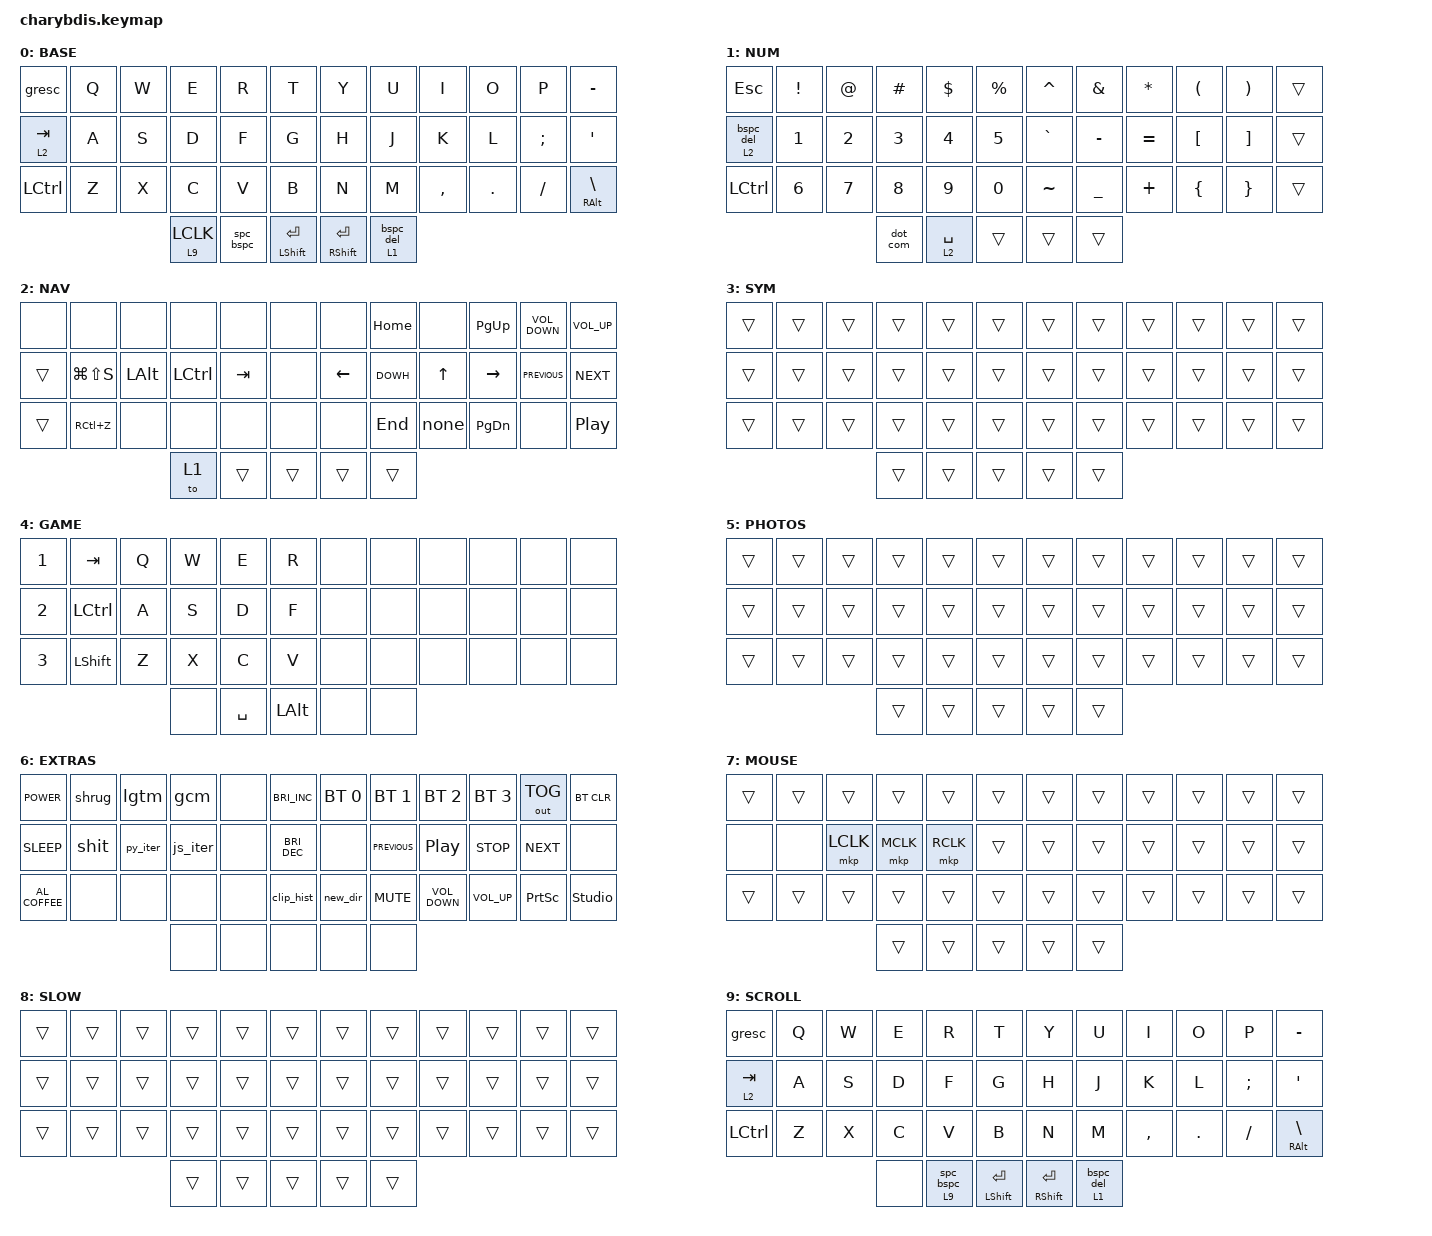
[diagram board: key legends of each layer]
#include <behaviors.dtsi>
#include <dt-bindings/zmk/bt.h>
#include <dt-bindings/zmk/keys.h>
#include <dt-bindings/zmk/mouse.h>
#include <dt-bindings/zmk/outputs.h>
#include <behaviors/mouse_keys.dtsi>
#include <dt-bindings/zmk/ext_power.h>
#include "macros.dtsi"

// / {
//     chosen { zmk,matrix_transform = &default_transform; };
// };

/ {
    /* input config for mouse move mode */
    trackball_listener {
        compatible = "zmk,input-behavior-listener";
        device = <&vtrackball>;
        layers = <0 1 2 7>;
        evt-type = <INPUT_EV_REL>;
        x-input-code = <INPUT_REL_X>;
        y-input-code = <INPUT_REL_Y>;
        scale-multiplier = <1>;
        scale-divisor = <3>; // slower from 2 to 3
        // bindings = <&ib_toggle_layer 7>; // unfortunately cant access scrolling if auto layer is on 
    };

    /* input config for snipe mode */
    trackball_snipe_listener {
        compatible = "zmk,input-behavior-listener";   
        device = <&vtrackball>;
        layers = <8>;
        evt-type = <INPUT_EV_REL>;
        x-input-code = <INPUT_REL_X>;
        y-input-code = <INPUT_REL_Y>;
        scale-multiplier = <1>;
        scale-divisor = <4>;
    };

    /* input config for mouse scroll mode */
    trackball_scroll_listener {
        compatible = "zmk,input-behavior-listener";
        device = <&vtrackball>;
        layers = <9>;
        evt-type = <INPUT_EV_REL>;            
        x-input-code = <INPUT_REL_MISC>;
        y-input-code = <INPUT_REL_WHEEL>;
        y-invert;
        bindings = <&ib_wheel_scaler 1 14>;
        scale-divisor = <4>;
    };

    /* define a resolution down scaler only for INPUT_REL_WHEEL */
    ib_wheel_scaler: ib_wheel_scaler {
        compatible = "zmk,input-behavior-scaler";
        #binding-cells = <2>;
        evt-type = <INPUT_EV_REL>;
        input-code = <INPUT_REL_WHEEL>;
    };

    /* adjust cooldown waiting period for mouse key layer after activated */
    ib_toggle_layer: ib_toggle_layer {
        compatible = "zmk,input-behavior-tog-layer";
        #binding-cells = <1>;
        time-to-live-ms = <750>;
    };

    behaviors {
        hm: homerow_mod {
            compatible = "zmk,behavior-hold-tap";
            #binding-cells = <2>;
            flavor = "tap-preferred";
            tapping-term-ms = <175>; // triggers the hold behavior when the tapping-term-ms has expired
            quick-tap-ms = <150>; // If you press a tapped hold-tap again within quick-tap-ms milliseconds of the first press, it will always trigger the tap behavior.
            require-prior-idle-ms = <185>; // like quick-tap-ms however it will apply for any non-modifier key pressed before it
            bindings = <&kp>, <&kp>;  // hold, tap
        };

        td_cursor: td_scroll_or_cursor {
            compatible = "zmk,behavior-tap-dance";
            #binding-cells = <0>;
            bindings = <&lt 9 ESC>, <&to 8>; // hold, tap, double_tap
        };

        httl: ht_two_layers {
            compatible = "zmk,behavior-hold-tap";
            bindings = <&mo>, <&to>;
            #binding-cells = <2>;
            flavor = "balanced";
            tapping-term-ms = <125>;
        };

        td_layers: td_layer_swap {
            compatible = "zmk,behavior-tap-dance";
            #binding-cells = <0>;
            bindings = <&to 0>, <&to 5>, <&to 4>; // tap, double_tap, tripple_tap
        };

        td_clk_scrl: td_click_or_scroll {
            compatible = "zmk,behavior-tap-dance";
            #binding-cells = <0>;
            tapping-term-ms = <250>;
            bindings = <&mkp RCLK>, <&mo 9>;  // tap/hold, double_tap
        };

        td_bore: BASE_or_EXTRA {
            compatible = "zmk,behavior-tap-dance";
            #binding-cells = <0>;
            bindings = <&mo 6>, <&to 0>;
        };

        bspc_del: backspace_delete {
            compatible = "zmk,behavior-mod-morph";
            label = "BACKSPACE_DELETE";
            #binding-cells = <0>;
            bindings = <&kp BACKSPACE>, <&kp DELETE>;
            mods = <(MOD_LSFT|MOD_RSFT)>;
        };

        lt_bspc: layer_tap_bspc_del {
            compatible = "zmk,behavior-hold-tap";
            label = "LAYER_TAP_BACKSPACE_DELETE";
            #binding-cells = <2>;
            bindings = <&mo>, <&bspc_del>;
            tapping-term-ms = <200>;
        };

        lt_clk: lt_mouse_click {
            compatible = "zmk,behavior-hold-tap";
            #binding-cells = <2>;
            flavor = "balanced";
            tapping-term-ms = <125>;
            bindings = <&mo>, <&mkp>;
        };

        spc_bspc: space_backspace {
            compatible = "zmk,behavior-mod-morph";
            label = "SPACE_BACKSPACE";
            #binding-cells = <0>;
            bindings = <&kp SPACE>, <&kp BACKSPACE>;
            mods = <(MOD_LCTL)>;
        };

        lt_space_bs: layer_tap_space_bspc {
            compatible = "zmk,behavior-hold-tap";
            label = "LAYER_TAP_SPACE_BACKSPACE";
            #binding-cells = <2>;
            bindings = <&mo>, <&spc_bspc>;
            tapping-term-ms = <200>;
        };

        dot_com: dot_comma {
            compatible = "zmk,behavior-mod-morph";
            #binding-cells = <0>;
            bindings = <&kp DOT>, <&kp COMMA>;
            mods = <(MOD_LCTL)>;
        };
    };

        hm_space: lt_space_with_hm {
            compatible = "zmk,behavior-hold-tap";
            #binding-cells = <2>;
            flavor = "tap-preferred";
            tapping-term-ms = <175>; // triggers the hold behavior when the tapping-term-ms has expired
            quick-tap-ms = <150>; // If you press a tapped hold-tap again within quick-tap-ms milliseconds of the first press, it will always trigger the tap behavior.
            require-prior-idle-ms = <185>; // like quick-tap-ms however it will apply for any non-modifier key pressed before it
            bindings = <&kp>, <&spc_bspc>;  // hold, tap
        };

    combos {
        compatible = "zmk,combos";

        ToBase {
            bindings = <&to 0>;
            key-positions = <38 39>;
        }; 

        CapsWord {
            bindings = <&caps_word>;
            key-positions = <17 18>;
            layers = <0>;
        };

        LeftClick {
            bindings = <&mkp LCLK>;
            key-positions = <15 36>;
        };

        LeftClick2 {
            bindings = <&mkp LCLK>;
            key-positions = <32 33>;
        };

        MiddleClick {
            bindings = <&mkp MCLK>;
            key-positions = <28 36>;
        };

        RightClick {
            bindings = <&mkp RCLK>;
            key-positions = <16 36>;
        };

        NavForOneHandScroll {
            bindings = <&mo 9>;
            key-positions = <31 32>;
        };

        // arrow combos for one handed youtube sponsor skipping
        RightArrow { 
            bindings = <&kp RIGHT>;
            key-positions = <34 35>;
        }; 

        LeftArrow {
            bindings = <&kp LEFT>;
            key-positions = <33 34>;
        }; 

        // BASE_or_EXTRAS {
        //     bindings = <&td_bore>;
        //     key-positions = <38 39>;
        // };

        // GameLayer {
        //     bindings = <&tog 4>;
        //     key-positions = <8 9>;
        // };

        // PhotoLayer {
        //     bindings = <&tog 5>;
        //     key-positions = <2 3>;
        // };
    };

// ╭──────┬──────┬──────┬──────┬──────┬──────╮  ╭──────┬──────┬──────┬──────┬──────┬──────╮
//    00     01     02     03     04     05        06     07     08     09     10     11
// ├──────┼──────┼──────┼──────┼──────┼──────┤  ├──────┼──────┼──────┼──────┼──────┼──────┤
//    12     13     14     15     16     17        18     19     20     21     22     23
// ├──────┼──────┼──────┼──────┼──────┼──────┤  ├──────┼──────┼──────┼──────┼──────┼──────┤
//    24     25     26     27     28     29        30     31     32     33     34     35
// ╰──────┴──────┴──────┼──────┼──────┼──────┤  ├──────┼──────┼──────┴──────┴──────┴──────╯
//                         36     37     38        39     40
//                      ╰──────┴──────┴──────╯  ╰──────┴──────╯
// #define BASE    0
// #define NUM     1
// #define NAV     2
// #define SYM     3
// #define GAME    4
// #define PHOTOS  5
// #define EXTRAS  6
// #define MOUSE   7
// #define SLOW    8
// #define SCROLL  9

    keymap {
        compatible = "zmk,keymap";
        BASE {
            bindings = <
// ╭────────────────┬──────────────┬──────────────┬──────────────┬──────────────┬──────────────╮  ╭──────────────┬──────────────┬──────────────┬──────────────┬──────────────┬──────────────╮
       &gresc            &kp Q          &kp W          &kp E           &kp R          &kp T             &kp Y         &kp U          &kp I         &kp O           &kp P        &kp MINUS
// ├────────────────┼──────────────┼──────────────┼──────────────┼──────────────┼──────────────┤  ├──────────────┼──────────────┼──────────────┼──────────────┼──────────────┼──────────────┤
       &lt 2 TAB         &kp A          &kp S          &kp D           &kp F          &kp G             &kp H         &kp J          &kp K         &kp L       &kp SEMICOLON  &kp SINGLE_QUOTE
// ├────────────────┼──────────────┼──────────────┼──────────────┼──────────────┼──────────────┤  ├──────────────┼──────────────┼──────────────┼──────────────┼──────────────┼──────────────┤
       &kp LCTRL         &kp Z          &kp X          &kp C           &kp V          &kp B             &kp N         &kp M        &kp COMMA      &kp PERIOD      &kp FSLH     &mt RALT BSLH
// ╰────────────────┴──────────────┴──────────────┼──────────────┼──────────────┼──────────────┤  ├──────────────┼──────────────┼──────────────┴──────────────┴──────────────┴──────────────╯
                                                   &lt_clk 9 LCLK   &spc_bspc   &mt LSHFT RETURN  &mt RSHFT RETURN &lt_bspc 1 0
                                               // ╰──────────────┴──────────────┴──────────────╯  ╰──────────────┴──────────────╯
            >; 
        };

        NUM {
            bindings = <
&kp ESC      &kp EXCL  &kp AT &kp HASH &kp DOLLAR &kp PERCENT       &kp CARET  &kp AMPS   &kp ASTRK  &kp LPAR   &kp RPAR   &trans 
&lt_bspc 2 0 &kp N1    &kp N2 &kp N3   &kp N4     &kp N5            &kp GRAVE  &kp MINUS  &kp EQUAL  &kp LBKT   &kp RBKT   &trans
&kp LCTRL    &kp N6    &kp N7 &kp N8   &kp N9     &kp N0            &kp TILDE  &kp UNDER  &kp PLUS   &kp LBRC   &kp RBRC   &trans
                              &dot_com &lt 2 SPC  &trans            &trans     &trans
            >;
        };

        NAV {
            bindings = <
&none   &none           &none       &none      &none       &none         &none    &kp HOME    &none    &kp PG_UP  &kp C_VOLUME_DOWN  &kp C_VOLUME_UP
&trans  &kp LG(LS(S))   &kp LALT    &kp LCTRL  &kp TAB     &none         &kp LEFT &kp DOWH    &kp UP   &kp RIGHT  &kp C_PREVIOUS     &kp C_NEXT
&trans  &kp RC(Z)       &none       &none      &none       &none         &none    &kp END     &kp none &kp PG_DN  &none              &kp C_PLAY_PAUSE
                                    &to 1      &trans      &trans        &trans   &trans
            >; 
        };

        SYM {
            bindings = <
&trans    &trans    &trans    &trans    &trans    &trans    &trans    &trans    &trans    &trans    &trans    &trans
&trans    &trans    &trans    &trans    &trans    &trans    &trans    &trans    &trans    &trans    &trans    &trans
&trans    &trans    &trans    &trans    &trans    &trans    &trans    &trans    &trans    &trans    &trans    &trans
                              &trans    &trans    &trans    &trans    &trans
            >;
        };

        GAME {
            bindings = <
&kp N1  &kp TAB    &kp Q  &kp W   &kp E      &kp R           &none  &none  &none  &none  &none  &none
&kp N2  &kp LCTRL  &kp A  &kp S   &kp D      &kp F           &none  &none  &none  &none  &none  &none
&kp N3  &kp LSHFT  &kp Z  &kp X   &kp C      &kp V           &none  &none  &none  &none  &none  &none
                          &none   &kp SPACE  &kp LEFT_ALT    &none  &none
            >;
        };

        PHOTOS {
            bindings = <
&trans    &trans    &trans    &trans    &trans    &trans    &trans    &trans    &trans    &trans    &trans    &trans
&trans    &trans    &trans    &trans    &trans    &trans    &trans    &trans    &trans    &trans    &trans    &trans
&trans    &trans    &trans    &trans    &trans    &trans    &trans    &trans    &trans    &trans    &trans    &trans
                              &trans    &trans    &trans    &trans    &trans
            >;
        };

        EXTRAS {
            bindings = <
&kp C_POWER       &shrug  &lgtm     &gcm      &none  &kp C_BRIGHTNESS_INC    &bt BT_SEL 0  &bt BT_SEL 1    &bt BT_SEL 2       &bt BT_SEL 3  &out OUT_TOG     &bt BT_CLR
&kp C_SLEEP       &shit   &py_iter  &js_iter  &none  &kp C_BRIGHTNESS_DEC    &none         &kp C_PREVIOUS  &kp C_PLAY_PAUSE   &kp C_STOP    &kp C_NEXT       &none
&kp C_AL_COFFEE   &none   &none     &none     &none  &clip_hist              &new_dir      &kp K_MUTE      &kp C_VOLUME_DOWN  &kp C_VOLUME_UP   &kp PRINTSCREEN  &studio_unlock
                                    &none     &none  &none                   &none         &none
            >;
        };

        MOUSE {
            bindings = <
&trans    &trans    &trans     &trans    &trans    &trans    &trans    &trans    &trans    &trans    &trans    &trans
&none     &none     &mkp LCLK  &mkp MCLK &mkp RCLK &trans    &trans    &trans    &trans    &trans    &trans    &trans
&trans    &trans    &trans     &trans    &trans    &trans    &trans    &trans    &trans    &trans    &trans    &trans
                               &trans    &trans    &trans    &trans    &trans 
            >;
        };

        SLOW {
            bindings = <
&trans    &trans    &trans    &trans    &trans    &trans    &trans    &trans    &trans    &trans    &trans    &trans
&trans    &trans    &trans    &trans    &trans    &trans    &trans    &trans    &trans    &trans    &trans    &trans
&trans    &trans    &trans    &trans    &trans    &trans    &trans    &trans    &trans    &trans    &trans    &trans
                              &trans    &trans    &trans    &trans    &trans
            >;
        };

        SCROLL {
            bindings = <
// ╭────────────────┬──────────────┬──────────────┬──────────────┬──────────────┬──────────────╮  ╭──────────────┬──────────────┬──────────────┬──────────────┬──────────────┬──────────────╮
       &gresc            &kp Q          &kp W          &kp E           &kp R          &kp T             &kp Y         &kp U          &kp I         &kp O           &kp P        &kp MINUS
// ├────────────────┼──────────────┼──────────────┼──────────────┼──────────────┼──────────────┤  ├──────────────┼──────────────┼──────────────┼──────────────┼──────────────┼──────────────┤
       &lt 2 TAB         &kp A          &kp S          &kp D           &kp F          &kp G             &kp H         &kp J          &kp K         &kp L       &kp SEMICOLON  &kp SINGLE_QUOTE
// ├────────────────┼──────────────┼──────────────┼──────────────┼──────────────┼──────────────┤  ├──────────────┼──────────────┼──────────────┼──────────────┼──────────────┼──────────────┤
       &kp LCTRL         &kp Z          &kp X          &kp C           &kp V          &kp B             &kp N         &kp M        &kp COMMA      &kp PERIOD      &kp FSLH     &mt RALT BSLH
// ╰────────────────┴──────────────┴──────────────┼──────────────┼──────────────┼──────────────┤  ├──────────────┼──────────────┼──────────────┴──────────────┴──────────────┴──────────────╯
                                                       &none    &lt_space_bs 9 0 &mt LSHFT RETURN  &mt RSHFT RETURN &lt_bspc 1 0
                                               // ╰──────────────┴──────────────┴──────────────╯  ╰──────────────┴──────────────╯
            >;
        };
    };
};
